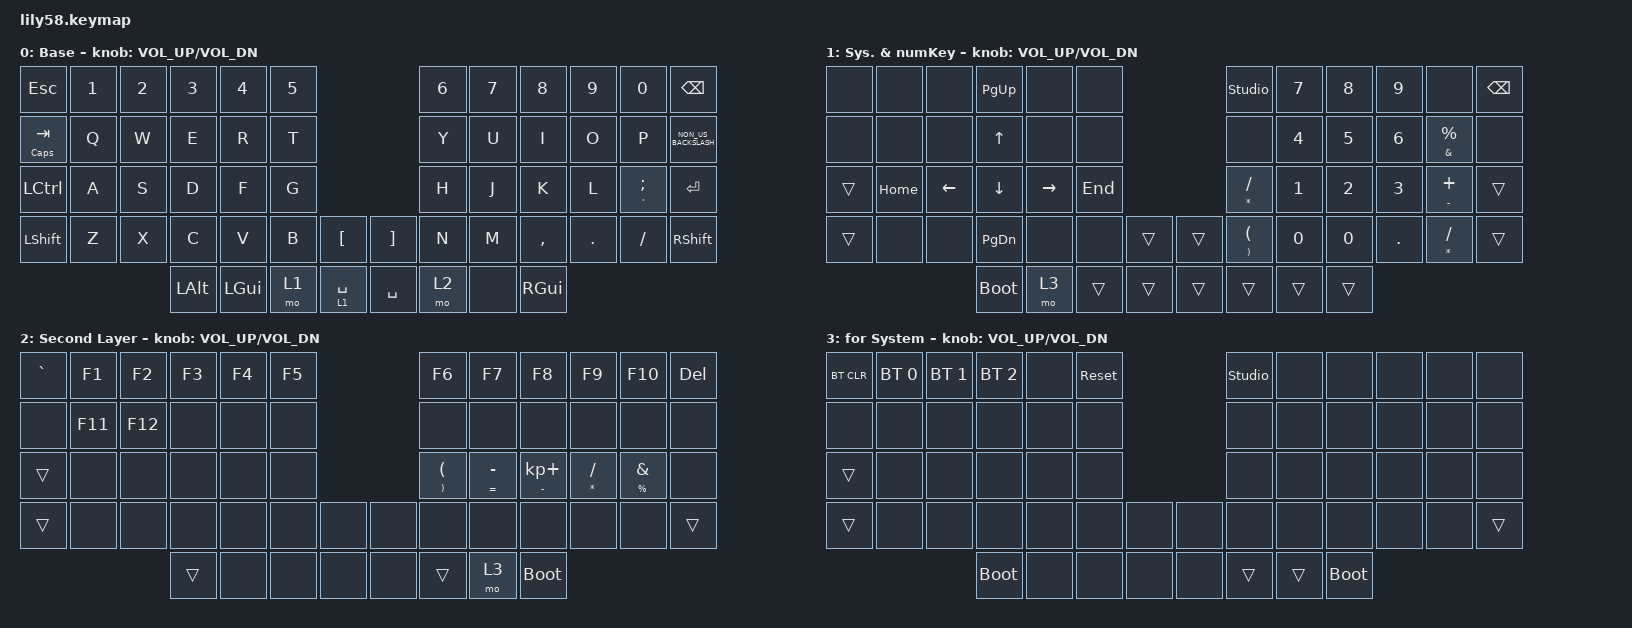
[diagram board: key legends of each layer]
/*
 * Copyright (c) 2020 The ZMK Contributors
 *
 * SPDX-License-Identifier: MIT
 */

#include <behaviors.dtsi>
#include <dt-bindings/zmk/bt.h>
#include <dt-bindings/zmk/keys.h>

/ {
    behaviors {
        PAT_Tap_Hold: PAT_Tap_Hold {
            compatible = "zmk,behavior-hold-tap";
            label = "PAT_TAP_HOLD";
            bindings = <&kp>, <&kp>;

            #binding-cells = <2>;
            tapping-term-ms = <200>;
            flavor = "tap-preferred";
        };
    };

    combos {
        compatible = "zmk,combos";

        Backspace {
            bindings = <&kp BACKSPACE>;
            key-positions = <31 32>;
        };

        CallLeft {
            bindings = <&mo 1>;
            key-positions = <36 53>;
            require-prior-idle-ms = <200>;
            layers = <0>;
        };

        CallRight {
            bindings = <&mo 2>;
            key-positions = <54 49>;
            layers = <0>;
            require-prior-idle-ms = <200>;
        };

        Enter {
            bindings = <&kp ENTER>;
            key-positions = <26 27 28>;
            layers = <0>;
        };
    };

    keymap {
        compatible = "zmk,keymap";

        default_layer {
            // ------------------------------------------------------------------------------------------------------------
            // |  ESC  |  1  |  2  |  3   |  4   |  5   |                   |  6   |  7    |  8    |  9   |   0   |   `   |
            // |  TAB  |  Q  |  W  |  E   |  R   |  T   |                   |  Y   |  U    |  I    |  O   |   P   |   -   |
            // |  CTRL |  A  |  S  |  D   |  F   |  G   |                   |  H   |  J    |  K    |  L   |   ;   |   '   |
            // | SHIFT |  Z  |  X  |  C   |  V   |  B   |   "["  |  |  "]"  |  N   |  M    |  ,    |  .   |   /   | SHIFT |
            //                     | ALT  | GUI  | LOWER|  SPACE |  | ENTER | RAISE| BSPC  | GUI   |

            display-name = "Base";
            bindings = <
&kp ESC                 &kp N1  &kp N2  &kp N3    &kp N4    &kp N5                            &kp N6  &kp N7  &kp N8     &kp N9   &kp N0                       &kp BACKSPACE
&PAT_Tap_Hold CAPS TAB  &kp Q   &kp W   &kp E     &kp R     &kp T                             &kp Y   &kp U   &kp I      &kp O    &kp P                        &kp NON_US_BACKSLASH
&kp LCTRL               &kp A   &kp S   &kp D     &kp F     &kp G                             &kp H   &kp J   &kp K      &kp L    &PAT_Tap_Hold SQT SEMICOLON  &kp ENTER
&kp LSHFT               &kp Z   &kp X   &kp C     &kp V     &kp B   &kp LBKT       &kp RBKT   &kp N   &kp M   &kp COMMA  &kp DOT  &kp FSLH                     &kp RSHFT
                                        &kp LALT  &kp LGUI  &mo 1   &lt 1 SPACE    &kp SPACE  &mo 2   &none   &kp RGUI
            >;

            sensor-bindings = <&inc_dec_kp C_VOL_UP C_VOL_DN>;
        };

        Left_T.Layer {
            // ------------------------------------------------------------------------------------------------------------
            // | BTCLR | BT1 | BT2 |  BT3 |  BT4 |  BT5 |                   |      |       |       |      |       |       |
            // |  F1   |  F2 |  F3 |  F4  |  F5  |  F6  |                   |  F7  |  F8   |  F9   |  F10 |  F11  |  F12  |
            // |   `   |  !  |  @  |  #   |  $   |  %   |                   |  ^   |  &    |  *    |  (   |   )   |   ~   |
            // |       |     |     |      |      |      |        |  |       |      |  _    |  +    |  {   |   }   |  "|"  |
            //                     |      |      |      |        |  |       |      |       |       |

            display-name = "Sys. & numKey";
            bindings = <
&none   &none     &none     &kp PG_UP      &none      &none                      &studio_unlock                                    &kp N7        &kp NUMBER_8  &kp NUMBER_9  &none                            &kp BACKSPACE
&none   &none     &none     &kp UP_ARROW   &none      &none                      &none                                             &kp NUMBER_4  &kp NUMBER_5  &kp NUMBER_6  &PAT_Tap_Hold AMPERSAND PERCENT  &none
&trans  &kp HOME  &kp LEFT  &kp DOWN       &kp RIGHT  &kp END                    &PAT_Tap_Hold ASTERISK SLASH                      &kp NUMBER_1  &kp NUMBER_2  &kp NUMBER_3  &PAT_Tap_Hold MINUS PLUS         &trans
&trans  &none     &none     &kp PAGE_DOWN  &none      &none    &trans    &trans  &PAT_Tap_Hold RIGHT_PARENTHESIS LEFT_PARENTHESIS  &kp NUMBER_0  &kp NUMBER_0  &kp DOT       &PAT_Tap_Hold ASTERISK SLASH     &trans
                            &bootloader    &mo 3      &trans   &trans    &trans  &trans                                            &trans        &trans
            >;

            sensor-bindings = <&inc_dec_kp C_VOL_UP C_VOL_DN>;
        };

        Right_T.Layer {
            // ------------------------------------------------------------------------------------------------------------
            // |       |     |     |      |      |      |                   |      |       |       |      |       |       |
            // |   `   |  1  |  2  |  3   |  4   |  5   |                   |  6   |   7   |   8   |  9   |   0   |       |
            // |   F1  |  F2 |  F3 |  F4  |  F5  |  F6  |                   |      |   <-  |   v   |  ^   |  ->   |       |
            // |   F7  |  F8 |  F9 |  F10 |  F11 |  F12 |        |  |       |  +   |   -   |   =   |  [   |   ]   |   \   |
            //                     |      |      |      |        |  |       |      |       |       |

            display-name = "Second Layer";
            bindings = <
&kp GRAVE  &kp F1   &kp F2   &kp F3  &kp F4  &kp F5                  &kp F6                                            &kp F7                     &kp F8                       &kp F9                        &kp F10                          &kp DEL
&none      &kp F11  &kp F12  &none   &none   &none                   &none                                             &none                      &none                        &none                         &none                            &none
&trans     &none    &none    &none   &none   &none                   &PAT_Tap_Hold RIGHT_PARENTHESIS LEFT_PARENTHESIS  &PAT_Tap_Hold EQUAL MINUS  &PAT_Tap_Hold MINUS KP_PLUS  &PAT_Tap_Hold ASTERISK SLASH  &PAT_Tap_Hold PERCENT AMPERSAND  &none
&trans     &none    &none    &none   &none   &none   &none    &none  &none                                             &none                      &none                        &none                         &none                            &trans
                             &trans  &none   &none   &none    &none  &trans                                            &mo 3                      &bootloader
            >;

            sensor-bindings = <&inc_dec_kp C_VOL_UP C_VOL_DN>;
        };

        Adjust {
            display-name = "for System";
            bindings = <
&bt BT_CLR  &bt BT_SEL 0  &bt BT_SEL 1  &bt BT_SEL 2  &none  &sys_reset                  &studio_unlock  &none   &none        &none  &none  &none
&none       &none         &none         &none         &none  &none                       &none           &none   &none        &none  &none  &none
&trans      &none         &none         &none         &none  &none                       &none           &none   &none        &none  &none  &none
&trans      &none         &none         &none         &none  &none       &none    &none  &none           &none   &none        &none  &none  &trans
                                        &bootloader   &none  &none       &none    &none  &trans          &trans  &bootloader
            >;

            sensor-bindings = <&inc_dec_kp C_VOL_UP C_VOL_DN>;
        };
    };
};
